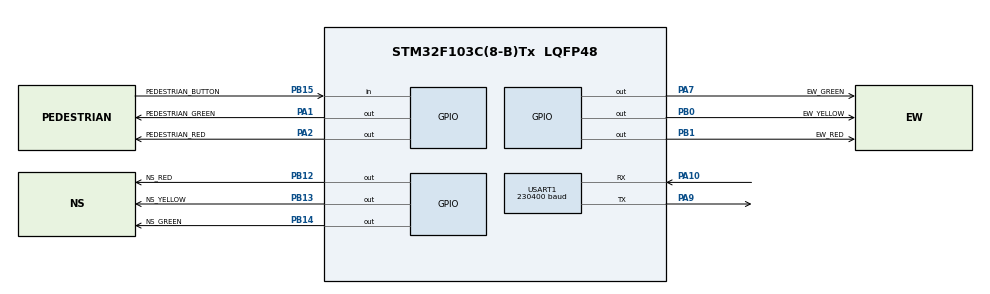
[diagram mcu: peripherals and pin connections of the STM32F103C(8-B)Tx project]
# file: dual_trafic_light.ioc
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Mcu.Family=STM32F1
Mcu.Name=STM32F103C(8-B)Tx
Mcu.Package=LQFP48
NVIC.PriorityGroup=NVIC_PRIORITYGROUP_4
PA1.GPIO_Label=PEDESTRIAN_GREEN
PA1.Signal=GPIO_Output
PA10.Mode=Asynchronous
PA10.Signal=USART1_RX
PA2.GPIO_Label=PEDESTRIAN_RED
PA2.Signal=GPIO_Output
PA7.GPIO_Label=EW_GREEN
PA7.Signal=GPIO_Output
PA9.Mode=Asynchronous
PA9.Signal=USART1_TX
PB0.GPIO_Label=EW_YELLOW
PB0.Signal=GPIO_Output
PB1.GPIO_Label=EW_RED
PB1.Signal=GPIO_Output
PB12.GPIO_Label=NS_RED
PB12.Signal=GPIO_Output
PB13.GPIO_Label=NS_YELLOW
PB13.Signal=GPIO_Output
PB14.GPIO_Label=NS_GREEN
PB14.Signal=GPIO_Output
PB15.GPIO_Label=PEDESTRIAN_BUTTON
PB15.GPIO_PuPd=GPIO_PULLDOWN
PB15.Signal=GPIO_Input
ProjectManager.HeapSize=0x200
ProjectManager.StackSize=0x400
ProjectManager.TargetToolchain=STM32CubeIDE
RCC.APB1Freq_Value=8000000
RCC.APB2Freq_Value=8000000
RCC.TimSys_Div=SYSTICK_CLKSOURCE_HCLK_DIV8
USART1.BaudRate=230400
USART1.VirtualMode=VM_ASYNC
VP_SYS_VS_ND.Mode=No_Debug
board=custom

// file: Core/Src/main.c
/* USER CODE BEGIN Header */
/**
 ******************************************************************************
 * @file           : main.c
 * @brief          : Main program body
 ******************************************************************************
 * @attention
 *
 * Copyright (c) 2025 STMicroelectronics.
 * All rights reserved.
 *
 * This software is licensed under terms that can be found in the LICENSE file
 * in the root directory of this software component.
 * If no LICENSE file comes with this software, it is provided AS-IS.
 *
 ******************************************************************************
 */
/* USER CODE END Header */
#include "main.h"

/* USER CODE BEGIN Includes */
#include "ns_road.h"
#include "ew_road.h"
#include "sw.h"
#include "pedestrian.h"
#include "os.h"
/* USER CODE END Includes */

UART_HandleTypeDef huart1;

void SystemClock_Config(void);
static void MX_GPIO_Init(void);
static void MX_USART1_UART_Init(void);

int main(void)
{

  /* MCU Configuration--------------------------------------------------------*/

  /* Reset of all peripherals, Initializes the Flash interface and the Systick. */
  HAL_Init();

  /* Configure the system clock */
  SystemClock_Config();

  /* Initialize all configured peripherals */
  MX_GPIO_Init();
  MX_USART1_UART_Init();
  /* USER CODE BEGIN 2 */
  HAL_UART_Transmit(&huart1, "Starting\n", 9, 100);
  NS_ROAD_Init();
  EW_ROAD_Init();
  SW_Init();
  PEDESTRIAN_Init();
  OS_voidInit();

  OS_voidCreatTask(1, NS_ROAD_Update, 0);
  OS_voidCreatTask(1, EW_ROAD_Update, 0);
  OS_voidCreatTask(1, SW_Update, 0);
  OS_voidCreatTask(1, PEDESTRIAN_Update, 0);
  OS_voidStart();
  /* USER CODE END 2 */

  /* Infinite loop */
	while (1)
	{

	}
}

void SystemClock_Config(void)
{
  RCC_OscInitTypeDef RCC_OscInitStruct = {0};
  RCC_ClkInitTypeDef RCC_ClkInitStruct = {0};

  /** Initializes the RCC Oscillators according to the specified parameters
  * in the RCC_OscInitTypeDef structure.
  */
  RCC_OscInitStruct.OscillatorType = RCC_OSCILLATORTYPE_HSI;
  RCC_OscInitStruct.HSIState = RCC_HSI_ON;
  RCC_OscInitStruct.HSICalibrationValue = RCC_HSICALIBRATION_DEFAULT;
  RCC_OscInitStruct.PLL.PLLState = RCC_PLL_NONE;
  if (HAL_RCC_OscConfig(&RCC_OscInitStruct) != HAL_OK)
  {
    Error_Handler();
  }

  /** Initializes the CPU, AHB and APB buses clocks
  */
  RCC_ClkInitStruct.ClockType = RCC_CLOCKTYPE_HCLK|RCC_CLOCKTYPE_SYSCLK
                              |RCC_CLOCKTYPE_PCLK1|RCC_CLOCKTYPE_PCLK2;
  RCC_ClkInitStruct.SYSCLKSource = RCC_SYSCLKSOURCE_HSI;
  RCC_ClkInitStruct.AHBCLKDivider = RCC_SYSCLK_DIV1;
  RCC_ClkInitStruct.APB1CLKDivider = RCC_HCLK_DIV1;
  RCC_ClkInitStruct.APB2CLKDivider = RCC_HCLK_DIV1;

  if (HAL_RCC_ClockConfig(&RCC_ClkInitStruct, FLASH_LATENCY_0) != HAL_OK)
  {
    Error_Handler();
  }
}

static void MX_USART1_UART_Init(void)
{

  huart1.Instance = USART1;
  huart1.Init.BaudRate = 230400;
  huart1.Init.WordLength = UART_WORDLENGTH_8B;
  huart1.Init.StopBits = UART_STOPBITS_1;
  huart1.Init.Parity = UART_PARITY_NONE;
  huart1.Init.Mode = UART_MODE_TX_RX;
  huart1.Init.HwFlowCtl = UART_HWCONTROL_NONE;
  huart1.Init.OverSampling = UART_OVERSAMPLING_16;
  if (HAL_UART_Init(&huart1) != HAL_OK)
  {
    Error_Handler();
  }

}

static void MX_GPIO_Init(void)
{
  GPIO_InitTypeDef GPIO_InitStruct = {0};

  /* GPIO Ports Clock Enable */
  __HAL_RCC_GPIOA_CLK_ENABLE();
  __HAL_RCC_GPIOB_CLK_ENABLE();

  /*Configure GPIO pin Output Level */
  HAL_GPIO_WritePin(GPIOA, PEDESTRIAN_GREEN_Pin|PEDESTRIAN_RED_Pin|EW_GREEN_Pin, GPIO_PIN_RESET);

  /*Configure GPIO pin Output Level */
  HAL_GPIO_WritePin(GPIOB, EW_YELLOW_Pin|EW_RED_Pin|NS_RED_Pin|NS_YELLOW_Pin
                          |NS_GREEN_Pin, GPIO_PIN_RESET);

  /*Configure GPIO pins : PEDESTRIAN_GREEN_Pin PEDESTRIAN_RED_Pin EW_GREEN_Pin */
  GPIO_InitStruct.Pin = PEDESTRIAN_GREEN_Pin|PEDESTRIAN_RED_Pin|EW_GREEN_Pin;
  GPIO_InitStruct.Mode = GPIO_MODE_OUTPUT_PP;
  GPIO_InitStruct.Pull = GPIO_NOPULL;
  GPIO_InitStruct.Speed = GPIO_SPEED_FREQ_LOW;
  HAL_GPIO_Init(GPIOA, &GPIO_InitStruct);

  /*Configure GPIO pins : EW_YELLOW_Pin EW_RED_Pin NS_RED_Pin NS_YELLOW_Pin
                           NS_GREEN_Pin */
  GPIO_InitStruct.Pin = EW_YELLOW_Pin|EW_RED_Pin|NS_RED_Pin|NS_YELLOW_Pin
                          |NS_GREEN_Pin;
  GPIO_InitStruct.Mode = GPIO_MODE_OUTPUT_PP;
  GPIO_InitStruct.Pull = GPIO_NOPULL;
  GPIO_InitStruct.Speed = GPIO_SPEED_FREQ_LOW;
  HAL_GPIO_Init(GPIOB, &GPIO_InitStruct);

  /*Configure GPIO pin : PEDESTRIAN_BUTTON_Pin */
  GPIO_InitStruct.Pin = PEDESTRIAN_BUTTON_Pin;
  GPIO_InitStruct.Mode = GPIO_MODE_INPUT;
  GPIO_InitStruct.Pull = GPIO_PULLDOWN;
  HAL_GPIO_Init(PEDESTRIAN_BUTTON_GPIO_Port, &GPIO_InitStruct);

}

void Error_Handler(void)
{
	__disable_irq();
	while (1)
	{
	}
}
